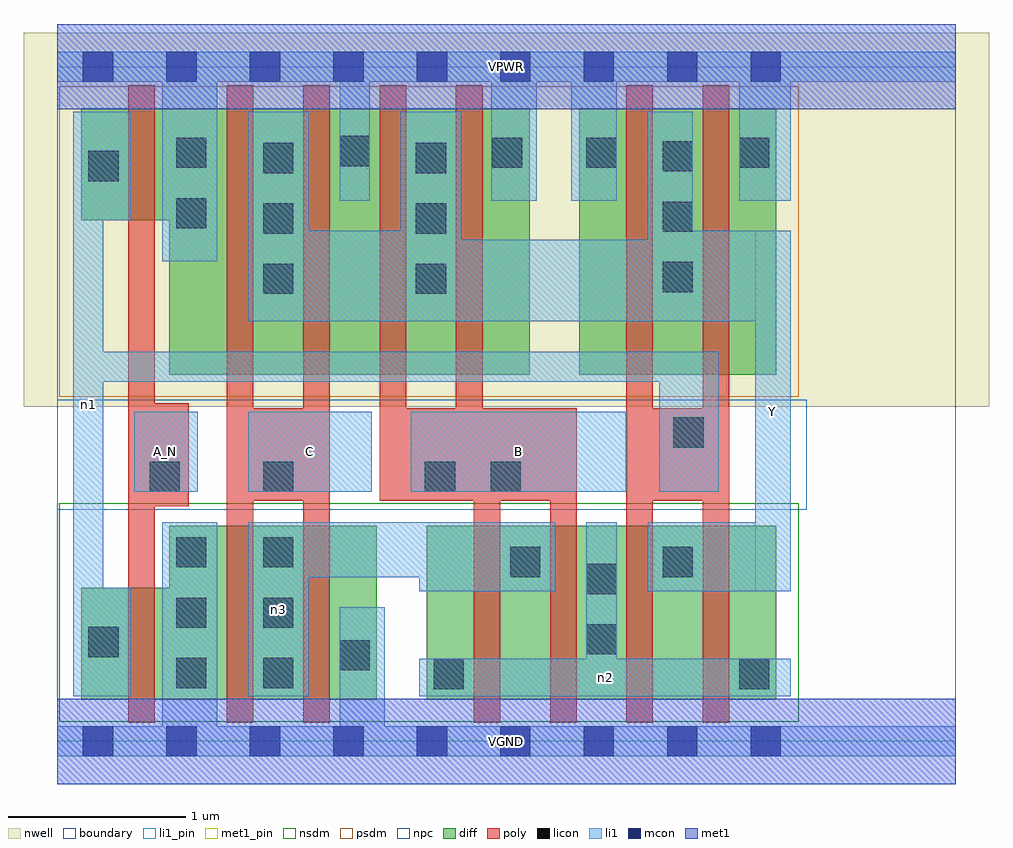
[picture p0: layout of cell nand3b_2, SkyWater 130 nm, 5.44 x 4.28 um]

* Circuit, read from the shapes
.subckt nand3b_2 A_N B C VGND VPWR Y n1 n2 n3
XM1 VGND A_N n1 VSUBS sky130_fd_pr__nfet_01v8 w=0.63 l=0.15
XM2 n3 C VGND VSUBS sky130_fd_pr__nfet_01v8 w=0.98 l=0.15 m=2
XM3 n3 B n2 VSUBS sky130_fd_pr__nfet_01v8 w=0.98 l=0.15 m=2
XM4 Y n1 n2 VSUBS sky130_fd_pr__nfet_01v8 w=0.98 l=0.15 m=2
XM5 VPWR A_N n1 n4 sky130_fd_pr__pfet_01v8 w=0.63 l=0.15
XM6 Y C VPWR n4 sky130_fd_pr__pfet_01v8 w=1.5 l=0.15 m=2
XM7 Y B VPWR n4 sky130_fd_pr__pfet_01v8 w=1.5 l=0.15 m=2
XM8 Y n1 VPWR n4 sky130_fd_pr__pfet_01v8 w=1.5 l=0.15 m=2
.ends

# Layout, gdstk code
import gdstk
lib = gdstk.Library(unit=1e-6, precision=1e-09)
def R(c, l, rs):  # rectangles x0, y0, x1, y1
    for r in rs: c.add(gdstk.rectangle(r[:2], r[2:], *l))
def A(c, l, x, y, w, h, nx, ny, dx, dy):  # array of equal rectangles
    R(c, l, [(x+i*dx, y+j*dy, x+i*dx+w, y+j*dy+h) for i in range(nx) for j in range(ny)])
nwell = (64, 20)
diff = (65, 20)
poly = (66, 20)
licon = (66, 44)
li1_pin = (67, 16)
li1 = (67, 20)
mcon = (67, 44)
met1_pin = (68, 16)
met1 = (68, 20)
nsdm = (93, 44)
psdm = (94, 20)
npc = (95, 20)
boundary = (235, 4)

nand3b_2 = lib.new_cell('nand3b_2')
R(nand3b_2, nwell, [(-0.19,1.885,5.25,3.99), (0,1.885,5.06,3.99)])
R(nand3b_2, diff, [(0.135,0.235,1.8,0.865), (0.63,0.235,1.8,1.215), (2.08,0.235,4.05,1.215), (0.63,2.065,2.66,3.565), (2.94,2.065,4.05,3.565), (0.135,2.935,2.66,3.565)])
R(nand3b_2, poly, [(0.4,0.105,0.55,3.695), (0.955,0.105,1.105,3.695), (1.385,0.105,1.535,3.695), (2.345,0.105,2.495,1.875), (2.775,0.105,2.925,1.875), (3.205,0.105,3.355,3.695), (3.635,0.105,3.785,3.695), (0.4,1.325,0.74,1.905), (0.955,1.355,1.535,1.875), (1.815,1.355,2.925,1.875), (1.815,1.355,1.965,3.695), (2.245,1.355,2.395,3.695), (3.205,1.355,3.785,1.875)])
A(nand3b_2, licon, 0.67, 0.3, 0.17, 0.17, 1, 3, 0, 0.34)
A(nand3b_2, licon, 1.16, 0.3, 0.17, 0.17, 1, 3, 0, 0.34)
A(nand3b_2, licon, 1.16, 2.52, 0.17, 0.17, 1, 3, 0, 0.34)
A(nand3b_2, licon, 2.02, 2.52, 0.17, 0.17, 1, 3, 0, 0.34)
A(nand3b_2, licon, 3.41, 2.53, 0.17, 0.17, 1, 3, 0, 0.34)
R(nand3b_2, licon, [(2.12,0.295,2.29,0.465), (3.84,0.295,4.01,0.465), (1.59,0.4,1.76,0.57), (0.175,0.475,0.345,0.645), (2.98,0.49,3.15,0.66), (2.98,0.83,3.15,1), (2.55,0.925,2.72,1.095), (3.41,0.925,3.58,1.095), (0.52,1.405,0.69,1.575), (1.16,1.405,1.33,1.575), (2.07,1.405,2.24,1.575), (2.44,1.405,2.61,1.575), (3.47,1.655,3.64,1.825), (0.67,2.89,0.84,3.06), (0.175,3.155,0.345,3.325), (0.67,3.23,0.84,3.4), (2.45,3.23,2.62,3.4), (2.98,3.23,3.15,3.4), (3.84,3.23,4.01,3.4), (1.59,3.24,1.76,3.41)])
R(nand3b_2, li1_pin, [(3.93,0.845,4.13,2.875), (0.435,1.405,0.79,1.855), (1.075,1.405,1.77,1.855), (1.99,1.405,3.205,1.855)])
R(nand3b_2, li1, [(0,-0.085,5.06,0.085), (0.59,-0.085,0.9,1.235), (1.59,-0.085,1.845,0.755), (0.09,0.255,0.26,3.545), (0.09,0.255,0.415,0.865), (1.075,0.255,1.415,1.235), (2.04,0.255,4.13,0.465), (2.98,0.255,3.15,1.235), (2.04,0.845,2.805,1.235), (3.325,0.845,4.13,1.235), (3.93,0.845,4.13,2.875), (1.075,0.925,2.805,1.235), (0.435,1.405,0.79,1.855), (1.075,1.405,1.77,1.855), (1.99,1.405,3.205,1.855), (3.39,1.405,3.725,2.195), (0.09,2.025,3.725,2.195), (1.075,2.365,4.13,2.825), (1.075,2.365,1.415,3.545), (1.075,2.365,2.275,2.875), (1.935,2.365,2.275,3.545), (3.325,2.365,3.58,3.545), (3.325,2.365,4.13,2.875), (0.59,2.705,0.9,3.885), (0.09,2.935,0.415,3.545), (1.59,3.045,1.76,3.885), (2.445,3.045,2.7,3.885), (2.895,3.045,3.15,3.885), (3.84,3.045,4.13,3.885), (0,3.715,5.06,3.885)])
A(nand3b_2, mcon, 0.145, -0.085, 0.17, 0.17, 9, 2, 0.47, 3.8)
R(nand3b_2, met1_pin, [(0,-0.24,5.06,0.24), (0,3.56,5.06,4.04)])
R(nand3b_2, met1, [(0,-0.24,5.06,0.24), (0,3.56,5.06,4.04)])
R(nand3b_2, nsdm, [(0.01,0.11,4.175,1.34)])
R(nand3b_2, psdm, [(0.01,1.94,4.175,3.69)])
R(nand3b_2, npc, [(0,1.305,4.22,1.925)])
R(nand3b_2, boundary, [(0,0,5.06,3.8)])
nand3b_2.add(gdstk.Label('A_N', (0.612,1.63), layer=67, texttype=5))
nand3b_2.add(gdstk.Label('B', (2.597,1.63), layer=67, texttype=5))
nand3b_2.add(gdstk.Label('C', (1.422,1.63), layer=67, texttype=5))
nand3b_2.add(gdstk.Label('Y', (4.03,1.86), layer=67, texttype=5))
nand3b_2.add(gdstk.Label('n3', (1.245,0.745), layer=67, texttype=5))
nand3b_2.add(gdstk.Label('n2', (3.085,0.36), layer=67, texttype=5))
nand3b_2.add(gdstk.Label('n1', (0.175,1.9), layer=67, texttype=5))
nand3b_2.add(gdstk.Label('VPWR', (2.53,3.8), layer=68, texttype=5))
nand3b_2.add(gdstk.Label('VGND', (2.53,0), layer=68, texttype=5))
nand3b_2.add(gdstk.Label('A_N', (0.612,1.63), layer=67, texttype=16))
nand3b_2.add(gdstk.Label('B', (2.597,1.63), layer=67, texttype=16))
nand3b_2.add(gdstk.Label('C', (1.422,1.63), layer=67, texttype=16))
nand3b_2.add(gdstk.Label('Y', (4.03,1.86), layer=67, texttype=16))
nand3b_2.add(gdstk.Label('VPWR', (2.53,3.8), layer=68, texttype=16))
nand3b_2.add(gdstk.Label('VGND', (2.53,0), layer=68, texttype=16))

lib.write_gds('nand3b_2.gds')
